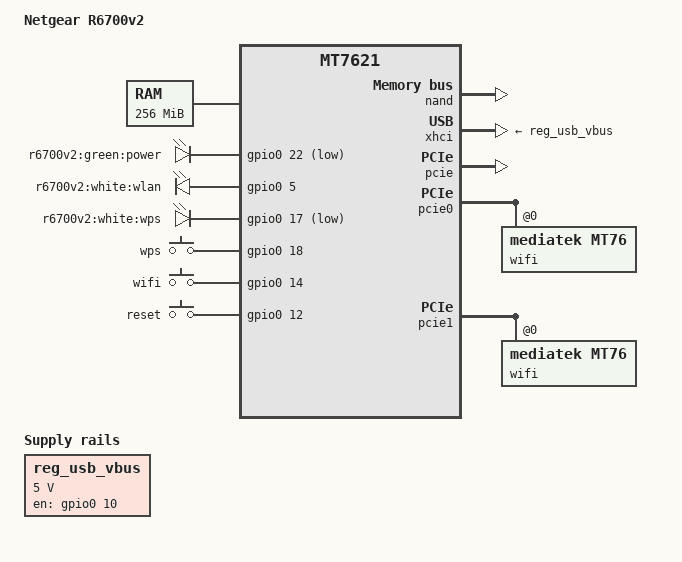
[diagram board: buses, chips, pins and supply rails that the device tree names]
// SPDX-License-Identifier: GPL-2.0
/dts-v1/;

#include "mt7621.dtsi"

#include <dt-bindings/gpio/gpio.h>
#include <dt-bindings/input/input.h>

/ {
	compatible = "netgear,r6700v2", "mediatek,mt7621-soc";
	model = "Netgear R6700v2";

	aliases {
		led-boot = &led_power;
		led-failsafe = &led_power;
		led-running = &led_power;
		led-upgrade = &led_power;
	};

	memory@0 {
		device_type = "memory";
		reg = <0x0 0x10000000>;
	};

	chosen {
		bootargs = "console=ttyS0,57600";
	};

	leds {
		compatible = "gpio-leds";

		led_power: power {
			label = "r6700v2:green:power";
			gpios = <&gpio0 22 GPIO_ACTIVE_LOW>;
		};

		
		wlan {
			label = "r6700v2:white:wlan";
			gpios = <&gpio0 5 GPIO_ACTIVE_HIGH>;
		};

		wps {
			label = "r6700v2:white:wps";
			gpios = <&gpio0 17 GPIO_ACTIVE_LOW>;
		};
	};

	keys {
		compatible = "gpio-keys";

		wps {
			label = "wps";
			gpios = <&gpio0 18 GPIO_ACTIVE_HIGH>;
			linux,code = <KEY_WPS_BUTTON>;
		};

		wifi {
			label = "wifi";
			gpios = <&gpio0 14 GPIO_ACTIVE_HIGH>;
			linux,code = <KEY_RFKILL>;
		};

		reset {
			label = "reset";
			gpios = <&gpio0 12 GPIO_ACTIVE_HIGH>;
			linux,code = <KEY_RESTART>;
		};
	};

	reg_usb_vbus: regulator {
		compatible = "regulator-fixed";
		regulator-name = "usb_vbus";
		regulator-min-microvolt = <5000000>;
		regulator-max-microvolt = <5000000>;
		gpio = <&gpio0 10 GPIO_ACTIVE_HIGH>;
		enable-active-high;
	};
};

&nand {
	status = "okay";

	partitions {
		compatible = "fixed-partitions";
		#address-cells = <1>;
		#size-cells = <1>;

		partition@0 {
			label = "u-boot";
			reg = <0x0 0x100000>;
			read-only;
		};

		partition@100000 {
			label = "SC PART_MAP";
			reg = <0x100000 0x100000>;
			read-only;
		};

		partition@200000 {
			label = "kernel";
			reg = <0x200000 0x400000>;
		};

		partition@600000 {
			label = "ubi";
			reg = <0x600000 0x2800000>;
		};

		partition@2e00000 {
			label = "reserved0";
			reg = <0x2e00000 0x1800000>;
			read-only;
		};

		factory: partition@4600000 {
			label = "factory";
			reg = <0x4600000 0x200000>;
			read-only;
		};

		partition@4800000 {
			label = "reserved1";
			reg = <0x4800000 0x3800000>;
			read-only;
		};
	};
};

&xhci {
	vbus-supply = <&reg_usb_vbus>;
};

&pcie {
	status = "okay";
};

&pcie0 {
	wifi@0,0 {
		compatible = "mediatek,mt76";
		reg = <0x0 0 0 0 0>;
		mediatek,mtd-eeprom = <&factory 0x0>;
		ieee80211-freq-limit = <2400000 2500000>;
		
	};
};

&pcie1 {
	wifi@1,0 {
		compatible = "mediatek,mt76";
		reg = <0x0 0 0 0 0>;
		mediatek,mtd-eeprom = <&factory 0x8000>;
		ieee80211-freq-limit = <5000000 6000000>;
	};
};

&ethernet {
	mtd-mac-address = <&factory 0x00000004>;
};

&pinctrl {
	state_default: pinctrl0 {
		gpio {
			ralink,group = "uart3", "uart2", "jtag", "wdt";
			ralink,function = "gpio";
		};
	};
};
